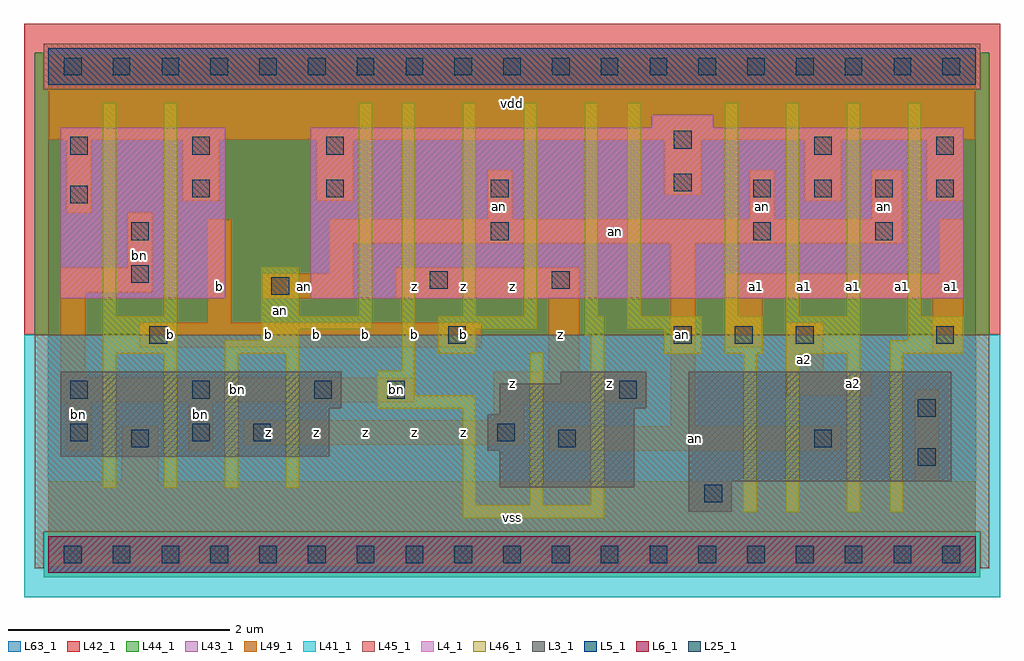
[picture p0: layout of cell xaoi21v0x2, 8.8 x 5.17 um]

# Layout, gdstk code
import gdstk
lib = gdstk.Library(unit=1e-6, precision=1e-09)
def R(c, l, rs):  # rectangles x0, y0, x1, y1
    for r in rs: c.add(gdstk.rectangle(r[:2], r[2:], *l))
def A(c, l, x, y, w, h, nx, ny, dx, dy):  # array of equal rectangles
    R(c, l, [(x+i*dx, y+j*dy, x+i*dx+w, y+j*dy+h) for i in range(nx) for j in range(ny)])
L3_1 = (3, 1)
L4_1 = (4, 1)
L5_1 = (5, 1)
L6_1 = (6, 1)
L25_1 = (25, 1)
L41_1 = (41, 1)
L42_1 = (42, 1)
L43_1 = (43, 1)
L44_1 = (44, 1)
L45_1 = (45, 1)
L46_1 = (46, 1)
L49_1 = (49, 1)
L63_1 = (63, 1)

xaoi21v0x2 = lib.new_cell('xaoi21v0x2')
R(xaoi21v0x2, L3_1, [(5.775,0.385,6.16,0.66), (4.07,0.605,5.28,0.935), (5.775,0.66,8.14,1.65), (0.11,0.88,2.53,1.32), (3.96,0.935,5.28,1.265), (4.07,1.265,5.28,1.32), (0.11,1.32,2.64,1.65), (4.07,1.32,5.39,1.54), (4.62,1.54,5.39,1.65)])
R(xaoi21v0x2, L4_1, [(0.11,2.31,1.595,3.85), (2.365,2.31,8.25,3.85), (5.445,3.85,5.995,3.96)])
R(xaoi21v0x2, L5_1, [(0,4.235,8.36,4.565)])
R(xaoi21v0x2, L6_1, [(0,-0.165,8.36,0.165)])
A(xaoi21v0x2, L25_1, 0.14, -0.08, 0.16, 0.16, 19, 2, 0.44, 4.4)
A(xaoi21v0x2, L25_1, 0.195, 1.405, 0.16, 0.16, 3, 1, 1.1, 0)
A(xaoi21v0x2, L25_1, 5.64, 1.9, 0.16, 0.16, 3, 1, 0.55, 0)
A(xaoi21v0x2, L25_1, 6.355, 3.22, 0.16, 0.16, 4, 1, 0.55, 0)
R(xaoi21v0x2, L25_1, [(5.915,0.47,6.075,0.63), (7.84,0.8,8,0.96), (0.745,0.965,0.905,1.125), (4.595,0.965,4.755,1.125), (6.905,0.965,7.065,1.125), (0.195,1.02,0.355,1.18), (1.295,1.02,1.455,1.18), (1.845,1.02,2.005,1.18), (4.045,1.02,4.205,1.18), (7.84,1.24,8,1.4), (3.055,1.405,3.215,1.565), (5.145,1.405,5.305,1.565), (0.91,1.9,1.07,2.06), (3.605,1.9,3.765,2.06), (8.005,1.9,8.165,2.06), (2.01,2.34,2.17,2.5), (3.44,2.395,3.6,2.555), (4.54,2.395,4.7,2.555), (0.745,2.45,0.905,2.61), (0.745,2.835,0.905,2.995), (3.99,2.835,4.15,2.995), (6.355,2.835,6.515,2.995), (7.455,2.835,7.615,2.995), (0.195,3.165,0.355,3.325), (1.295,3.22,1.455,3.38), (2.505,3.22,2.665,3.38), (3.99,3.22,4.15,3.38), (5.64,3.275,5.8,3.435), (0.195,3.605,0.355,3.765), (1.295,3.605,1.455,3.765), (2.505,3.605,2.665,3.765), (6.905,3.605,7.065,3.765), (8.005,3.605,8.165,3.765), (5.64,3.66,5.8,3.82)])
R(xaoi21v0x2, L41_1, [(-0.22,-0.385,8.58,1.98)])
R(xaoi21v0x2, L42_1, [(-0.22,1.98,8.58,4.785)])
R(xaoi21v0x2, L43_1, [(0,-0.165,8.36,0.165), (5.775,0.385,6.16,0.66), (4.07,0.605,5.28,0.935), (5.775,0.66,8.14,1.65), (0.11,0.88,2.53,1.32), (3.96,0.935,5.28,1.265), (4.07,1.265,5.28,1.32), (0.11,1.32,2.64,1.65), (4.07,1.32,5.39,1.54), (4.62,1.54,5.39,1.65), (0.11,2.31,1.595,3.85), (2.365,2.31,8.25,3.85), (5.445,3.85,5.995,3.96), (0,4.235,8.36,4.565)])
R(xaoi21v0x2, L44_1, [(-0.04,-0.205,8.4,0.205), (-0.125,1.98,8.485,4.195), (-0.125,4.195,-0.04,4.525), (8.4,4.195,8.485,4.525)])
R(xaoi21v0x2, L45_1, [(-0.125,-0.125,-0.04,0.205), (8.4,-0.125,8.485,0.205), (-0.125,0.205,8.485,1.98), (-0.04,4.195,8.4,4.605)])
A(xaoi21v0x2, L46_1, 0.49, 0.6, 0.12, 1.21, 4, 1, 0.55, 0)
A(xaoi21v0x2, L46_1, 3.735, 2.15, 0.12, 1.925, 3, 1, 0.55, 0)
A(xaoi21v0x2, L46_1, 6.1, 2.15, 0.12, 1.925, 4, 1, 0.55, 0)
R(xaoi21v0x2, L46_1, [(3.735,0.325,5.01,0.445), (6.265,0.38,6.385,1.81), (6.65,0.38,6.77,1.81), (7.2,0.38,7.32,1.81), (7.585,0.38,7.705,1.81), (3.735,0.445,3.855,1.315), (4.34,0.445,4.46,1.82), (4.89,0.445,5.01,1.975), (2.965,1.315,3.855,1.435), (2.965,1.435,3.305,1.655), (3.185,1.655,3.305,4.075), (0.49,1.81,1.16,2.15), (1.59,1.81,2.26,1.93), (3.515,1.81,3.855,2.03), (5.55,1.81,5.89,2.03), (6.1,1.81,6.44,2.15), (6.65,1.81,7.32,2.15), (7.585,1.81,8.255,1.93), (1.92,1.93,2.26,2.03), (7.75,1.93,8.255,2.15), (4.835,1.975,5.01,2.15), (1.92,2.03,2.92,2.15), (3.515,2.03,4.405,2.15), (5.22,2.03,5.89,2.15), (0.49,2.15,0.61,4.075), (1.04,2.15,1.16,4.075), (1.92,2.15,2.26,2.59), (2.8,2.15,2.92,4.075), (5.22,2.15,5.34,4.075)])
R(xaoi21v0x2, L49_1, [(0,-0.11,8.36,0.66), (0.66,0.66,0.99,1.155), (7.81,0.66,8.03,1.485), (0.165,0.935,0.385,1.375), (1.265,0.935,1.485,1.375), (4.51,0.935,7.15,1.155), (1.76,0.99,4.29,1.21), (5.61,1.155,5.83,2.805), (4.015,1.21,4.29,1.375), (0.11,1.375,3.3,1.595), (4.015,1.375,5.39,1.65), (6.655,1.43,7.425,1.65), (0.11,1.595,0.33,2.365), (4.51,1.65,4.785,2.31), (6.655,1.65,6.985,2.09), (7.975,1.815,8.25,2.31), (0.825,1.87,3.905,2.09), (6.105,1.87,6.435,2.31), (1.43,2.09,1.65,3.025), (1.925,2.31,2.75,2.53), (3.135,2.31,4.785,2.585), (6.105,2.31,8.25,2.53), (0.11,2.365,0.935,2.585), (2.53,2.53,2.75,2.805), (8.03,2.53,8.25,3.025), (0.715,2.585,0.935,3.08), (2.53,2.805,7.7,3.025), (3.96,3.025,4.18,3.465), (6.325,3.025,6.545,3.465), (7.425,3.025,7.7,3.465), (0.165,3.08,0.385,3.74), (1.21,3.19,1.54,3.74), (2.42,3.19,2.75,3.74), (6.82,3.19,7.15,3.74), (7.92,3.19,8.25,3.74), (5.555,3.245,5.885,3.74), (0,3.74,8.36,4.51)])
R(xaoi21v0x2, L63_1, [(0,0,8.36,4.4)])
xaoi21v0x2.add(gdstk.Label('an', (2.09,2.2), layer=46, texttype=1))
xaoi21v0x2.add(gdstk.Label('bn', (3.135,1.485), layer=49, texttype=1))
xaoi21v0x2.add(gdstk.Label('an', (5.72,1.98), layer=49, texttype=1))
xaoi21v0x2.add(gdstk.Label('bn', (1.375,1.265), layer=49, texttype=1))
xaoi21v0x2.add(gdstk.Label('bn', (0.275,1.265), layer=49, texttype=1))
xaoi21v0x2.add(gdstk.Label('b', (1.1,1.98), layer=49, texttype=1))
xaoi21v0x2.add(gdstk.Label('bn', (0.825,2.695), layer=49, texttype=1))
xaoi21v0x2.add(gdstk.Label('z', (1.98,1.1), layer=49, texttype=1))
xaoi21v0x2.add(gdstk.Label('z', (2.42,1.1), layer=49, texttype=1))
xaoi21v0x2.add(gdstk.Label('z', (2.86,1.1), layer=49, texttype=1))
xaoi21v0x2.add(gdstk.Label('b', (1.54,2.42), layer=49, texttype=1))
xaoi21v0x2.add(gdstk.Label('an', (2.31,2.42), layer=49, texttype=1))
xaoi21v0x2.add(gdstk.Label('b', (1.98,1.98), layer=49, texttype=1))
xaoi21v0x2.add(gdstk.Label('b', (2.42,1.98), layer=49, texttype=1))
xaoi21v0x2.add(gdstk.Label('b', (2.86,1.98), layer=49, texttype=1))
xaoi21v0x2.add(gdstk.Label('vss', (4.18,0.33), layer=49, texttype=1))
xaoi21v0x2.add(gdstk.Label('z', (3.3,1.1), layer=49, texttype=1))
xaoi21v0x2.add(gdstk.Label('bn', (1.705,1.485), layer=49, texttype=1))
xaoi21v0x2.add(gdstk.Label('z', (3.74,1.1), layer=49, texttype=1))
xaoi21v0x2.add(gdstk.Label('z', (4.18,1.54), layer=49, texttype=1))
xaoi21v0x2.add(gdstk.Label('b', (3.3,1.98), layer=49, texttype=1))
xaoi21v0x2.add(gdstk.Label('z', (3.3,2.42), layer=49, texttype=1))
xaoi21v0x2.add(gdstk.Label('b', (3.74,1.98), layer=49, texttype=1))
xaoi21v0x2.add(gdstk.Label('z', (3.74,2.42), layer=49, texttype=1))
xaoi21v0x2.add(gdstk.Label('z', (4.18,2.42), layer=49, texttype=1))
xaoi21v0x2.add(gdstk.Label('z', (4.62,1.98), layer=49, texttype=1))
xaoi21v0x2.add(gdstk.Label('an', (4.07,3.135), layer=49, texttype=1))
xaoi21v0x2.add(gdstk.Label('vdd', (4.18,4.07), layer=49, texttype=1))
xaoi21v0x2.add(gdstk.Label('z', (5.06,1.54), layer=49, texttype=1))
xaoi21v0x2.add(gdstk.Label('a1', (6.38,2.42), layer=49, texttype=1))
xaoi21v0x2.add(gdstk.Label('an', (5.72,1.98), layer=49, texttype=1))
xaoi21v0x2.add(gdstk.Label('an', (6.435,3.135), layer=49, texttype=1))
xaoi21v0x2.add(gdstk.Label('an', (5.83,1.045), layer=49, texttype=1))
xaoi21v0x2.add(gdstk.Label('a2', (7.26,1.54), layer=49, texttype=1))
xaoi21v0x2.add(gdstk.Label('a2', (6.82,1.76), layer=49, texttype=1))
xaoi21v0x2.add(gdstk.Label('a1', (6.82,2.42), layer=49, texttype=1))
xaoi21v0x2.add(gdstk.Label('a1', (8.14,2.42), layer=49, texttype=1))
xaoi21v0x2.add(gdstk.Label('a1', (7.26,2.42), layer=49, texttype=1))
xaoi21v0x2.add(gdstk.Label('a1', (7.7,2.42), layer=49, texttype=1))
xaoi21v0x2.add(gdstk.Label('an', (5.115,2.915), layer=49, texttype=1))
xaoi21v0x2.add(gdstk.Label('an', (7.535,3.135), layer=49, texttype=1))

lib.write_gds('xaoi21v0x2.gds')
